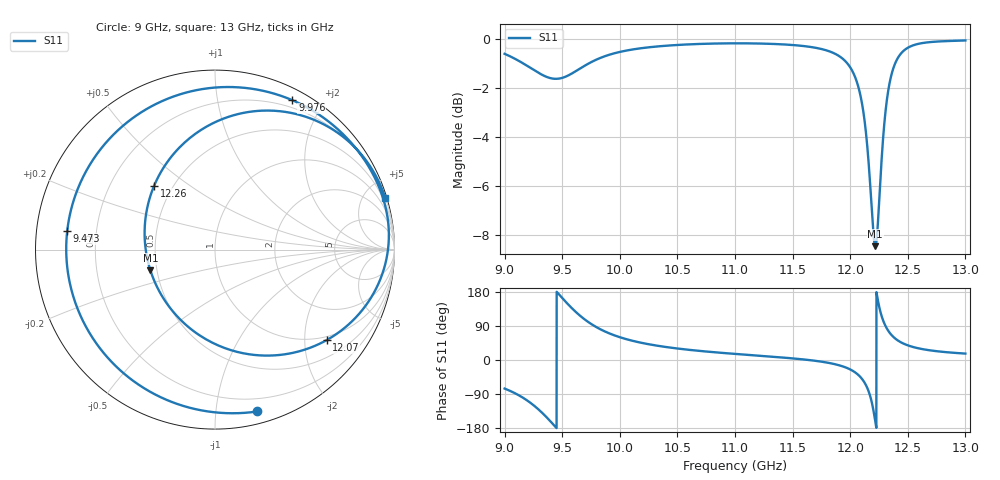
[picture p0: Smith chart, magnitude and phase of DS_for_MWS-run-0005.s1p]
! TOUCHSTONE file generated by CST DESIGN STUDIO
! Date and time: Tue Feb  4 16:28:35 2025
! Project name: C:\Work\MatlabApps\UnitCellOptimizationMatlab\CST\unitcell.cst
! Tree item: Tasks\Sweep1\SPara1\S-Parameters
! Header version: 2024
! Port assignment regex: !\s*Touchstone port\s*([0-9]+)\s*=\s*(CST MWS port|CST DES external port|CST DES block port)\s*(.+)\s* \(\"(.*)\"\)(\s*mode\s*([0-9]+))?.*
! Touchstone port assignment:
! Touchstone port 1 = CST DES external port 1 ("")
# GHz S MA R 50
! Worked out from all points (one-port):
!   4001 points, 9 GHz to 13 GHz, reference 50 ohm
!   lowest |S11| = -8.4 dB at 12.22 GHz (marker M1), VSWR 2.22, Z = 23 - j6.23 ohm
!   |S11| at or under -10 dB: nowhere
!   S11 on the Smith chart (normalised r, x): 9 GHz: 0.09, -1.29; 9.473 GHz: 0.09, +0.06; 9.976 GHz: 0.12, +1.64; 12.07 GHz: 0.90, -2.54; 12.26 GHz: 0.39, +0.37; 13 GHz: 0.18, +6.72
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9  0.9321 -75.4
9.145  0.8957 -96.9
9.255  0.8636 -120.3
9.379  0.834 -155.7
9.473  0.8299 172.8
9.5  0.8326 163.7
9.601  0.8545 131.6
9.699  0.8825 106.2
9.812  0.9103 84.2
9.976  0.9374 62.6
10  0.9403 60.2
10.213  0.9587 43.8
10.5  0.9716 30.3
11  0.9792 16.1
11.5  0.9714 4.3
11.803  0.9458 -7.0
12  0.8749 -24.9
12.069  0.8008 -39.0
12.157  0.571 -80.2
12.187  0.4497 -111.0
12.218  0.378 -162.1
12.257  0.4917 133.6
12.294  0.6631 98.1
12.334  0.7939 75.5
12.406  0.9074 53.1
12.5  0.9589 38.7
12.676  0.9838 26.2
13  0.9924 16.9
